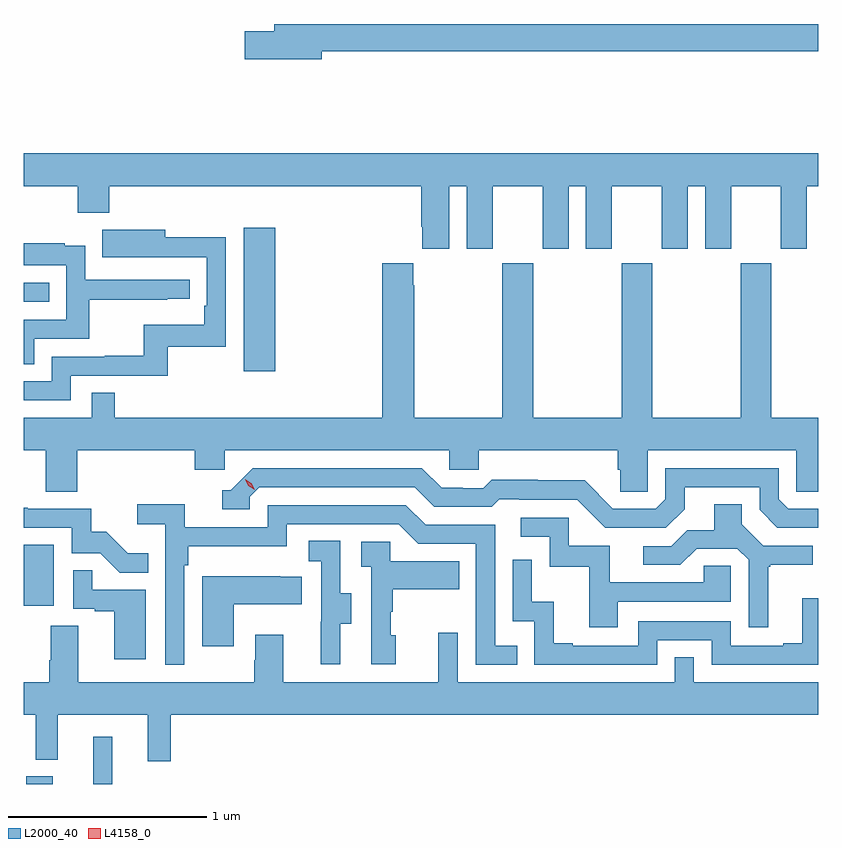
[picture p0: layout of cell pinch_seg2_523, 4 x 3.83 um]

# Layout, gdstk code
import gdstk
lib = gdstk.Library(unit=1e-6, precision=1e-09)
def R(c, l, rs):  # rectangles x0, y0, x1, y1
    for r in rs: c.add(gdstk.rectangle(r[:2], r[2:], *l))
def P(c, l, *ps):  # polygons
    for p in ps: c.add(gdstk.Polygon(p, *l))
L2000_40 = (2000, 40)
L4158_0 = (4158, 0)

pinch_seg2_523 = lib.new_cell('pinch_seg2_523')
R(pinch_seg2_523, L2000_40, [(998.51,600.668,998.644,600.706), (998.847,600.668,998.944,600.907), (998.499,601.566,998.65,601.873), (999.605,602.748,999.766,603.469), (998.499,603.096,998.627,603.192)])
P(pinch_seg2_523, L2000_40, [(1000,604.36),(1002.499,604.36),(1002.499,604.496),(999.761,604.496),(999.761,604.46),(999.612,604.46),(999.612,604.318),(1000,604.318)],
  [(1000.642,603.68),(1000.73,603.68),(1000.73,603.363),(1000.861,603.363),(1000.861,603.68),(1001.111,603.68),(1001.111,603.363),(1001.242,603.363),(1001.242,603.68),(1001.33,603.68),(1001.33,603.363),(1001.461,603.363),(1001.461,603.68),(1001.711,603.68),(1001.711,603.363),(1001.842,603.363),(1001.842,603.68),(1001.93,603.68),(1001.93,603.363),(1002.061,603.363),(1002.061,603.68),(1002.311,603.68),(1002.311,603.363),(1002.442,603.363),(1002.442,603.68),(1002.499,603.68),(1002.499,603.844),(998.499,603.844),(998.499,603.68),(998.77,603.68),(998.77,603.545),(998.93,603.545),(998.93,603.68),(1000.499,603.68),(1000.499,603.475),(1000.505,603.475),(1000.505,603.363),(1000.642,603.363)],
  [(998.736,602.724),(999.223,602.724),(999.223,602.871),(999.516,602.871),(999.516,603.422),(999.211,603.422),(999.211,603.46),(998.893,603.46),(998.893,603.32),(999.107,603.32),(999.107,603.321),(999.42,603.321),(999.42,603.076),(999.407,603.076),(999.407,602.98),(999.102,602.98),(999.102,602.825),(998.905,602.825),(998.905,602.82),(998.64,602.82),(998.64,602.697),(998.499,602.697),(998.499,602.601),(998.736,602.601)],
  [(998.551,602.91),(998.828,602.91),(998.828,603.106),(999.221,603.106),(999.221,603.111),(999.334,603.111),(999.334,603.207),(998.808,603.207),(998.808,603.379),(998.705,603.379),(998.705,603.391),(998.499,603.391),(998.499,603.282),(998.712,603.282),(998.712,603.006),(998.499,603.006),(998.499,602.782),(998.551,602.782)],
  [(998.768,602.348),(999.359,602.348),(999.359,602.25),(999.51,602.25),(999.51,602.348),(1000.641,602.348),(1000.641,602.25),(1000.791,602.25),(1000.791,602.348),(1001.489,602.348),(1001.489,602.25),(1001.503,602.25),(1001.503,602.14),(1001.64,602.14),(1001.64,602.348),(1002.39,602.348),(1002.39,602.14),(1002.499,602.14),(1002.499,602.512),(1002.264,602.512),(1002.264,603.292),(1002.109,603.292),(1002.109,602.512),(1001.664,602.512),(1001.664,603.292),(1001.509,603.292),(1001.509,602.512),(1001.064,602.512),(1001.064,603.292),(1000.909,603.292),(1000.909,602.512),(1000.464,602.512),(1000.464,603.179),(1000.459,603.179),(1000.459,603.292),(1000.304,603.292),(1000.304,602.512),(998.957,602.512),(998.957,602.639),(998.841,602.639),(998.841,602.512),(998.499,602.512),(998.499,602.348),(998.608,602.348),(998.608,602.14),(998.768,602.14)],
  [(1001.827,602.053),(1001.827,602.163),(1002.204,602.163),(1002.204,602.049),(1002.294,601.959),(1002.499,601.959),(1002.499,602.055),(1002.348,602.055),(1002.3,602.103),(1002.3,602.259),(1001.73,602.259),(1001.73,602.103),(1001.682,602.055),(1001.466,602.055),(1001.324,602.197),(1001.088,602.197),(1001.088,602.2),(1000.855,602.2),(1000.813,602.157),(1000.71,602.157),(1000.71,602.16),(1000.603,602.16),(1000.504,602.259),(999.651,602.259),(999.54,602.148),(999.497,602.148),(999.497,602.052),(999.636,602.052),(999.636,602.115),(999.684,602.163),(1000.467,602.163),(1000.566,602.064),(1000.855,602.064),(1000.894,602.103),(1000.993,602.103),(1000.993,602.1),(1001.286,602.1),(1001.427,601.959),(1001.733,601.959)],
  [(1002.247,601.761),(1002.259,601.761),(1002.259,601.772),(1002.472,601.772),(1002.472,601.869),(1002.222,601.869),(1002.115,601.976),(1002.115,602.078),(1001.975,602.078),(1001.975,601.946),(1001.84,601.946),(1001.76,601.866),(1001.619,601.866),(1001.619,601.773),(1001.806,601.773),(1001.887,601.854),(1002.093,601.854),(1002.15,601.797),(1002.15,601.458),(1002.247,601.458)],
  [(999.306,601.769),(999.326,601.769),(999.326,601.865),(999.822,601.865),(999.822,601.977),(1000.386,601.977),(1000.485,601.878),(1000.776,601.878),(1000.776,601.269),(1000.985,601.269),(1000.985,601.365),(1000.872,601.365),(1000.872,601.974),(1000.522,601.974),(1000.423,602.073),(999.726,602.073),(999.726,601.962),(999.308,601.962),(999.308,602.078),(999.069,602.078),(999.069,601.976),(999.21,601.976),(999.21,601.269),(999.306,601.269)],
  [(999.125,601.831),(999.021,601.831),(998.914,601.938),(998.838,601.938),(998.838,602.055),(998.519,602.055),(998.519,602.06),(998.499,602.06),(998.499,601.959),(998.739,601.959),(998.739,601.83),(998.883,601.83),(998.981,601.732),(999.125,601.732)],
  [(1001.491,601.587),(1002.06,601.587),(1002.06,601.767),(1001.923,601.767),(1001.923,601.683),(1001.449,601.683),(1001.449,601.869),(1001.244,601.869),(1001.244,602.01),(1001.001,602.01),(1001.001,601.914),(1001.148,601.914),(1001.148,601.761),(1001.347,601.761),(1001.347,601.458),(1001.491,601.458)],
  [(1000.093,601.474),(1000.147,601.474),(1000.147,601.629),(1000.092,601.629),(1000.092,601.892),(999.933,601.892),(999.933,601.789),(999.996,601.789),(999.996,601.485),(999.995,601.485),(999.995,601.272),(1000.093,601.272)],
  [(1000.372,601.416),(1000.347,601.416),(1000.347,601.535),(1000.357,601.535),(1000.357,601.649),(1000.691,601.649),(1000.691,601.789),(1000.344,601.789),(1000.344,601.887),(1000.197,601.887),(1000.197,601.763),(1000.248,601.763),(1000.248,601.272),(1000.372,601.272)],
  [(1001.688,601.392),(1001.964,601.392),(1001.964,601.269),(1002.499,601.269),(1002.499,601.603),(1002.419,601.603),(1002.419,601.378),(1002.323,601.378),(1002.323,601.365),(1002.06,601.365),(1002.06,601.488),(1001.592,601.488),(1001.592,601.365),(1001.263,601.365),(1001.263,601.378),(1001.168,601.378),(1001.168,601.586),(1001.058,601.586),(1001.058,601.798),(1000.962,601.798),(1000.962,601.488),(1001.07,601.488),(1001.07,601.269),(1001.688,601.269)],
  [(999.112,601.647),(998.843,601.647),(998.843,601.745),(998.748,601.745),(998.748,601.551),(998.855,601.551),(998.855,601.539),(998.954,601.539),(998.954,601.296),(999.112,601.296)],
  [(999.556,601.574),(999.899,601.574),(999.899,601.711),(999.791,601.711),(999.791,601.714),(999.398,601.714),(999.398,601.362),(999.556,601.362)],
  [(999.239,601.016),(1002.499,601.016),(1002.499,601.18),(1001.874,601.18),(1001.874,601.307),(1001.778,601.307),(1001.778,601.18),(1000.683,601.18),(1000.683,601.429),(1000.586,601.429),(1000.586,601.18),(999.805,601.18),(999.805,601.42),(999.665,601.42),(999.665,601.292),(999.658,601.292),(999.658,601.18),(998.773,601.18),(998.773,601.466),(998.633,601.466),(998.633,601.292),(998.626,601.292),(998.626,601.18),(998.499,601.18),(998.499,601.016),(998.559,601.016),(998.559,600.791),(998.669,600.791),(998.669,601.016),(999.122,601.016),(999.122,600.783),(999.239,600.783)])
P(pinch_seg2_523, L4158_0, [(999.661,602.15),(999.63,602.169),(999.614,602.202),(999.614,602.202),(999.614,602.202),(999.645,602.183),(999.661,602.15),(999.661,602.15)])

lib.write_gds('pinch_seg2_523.gds')
